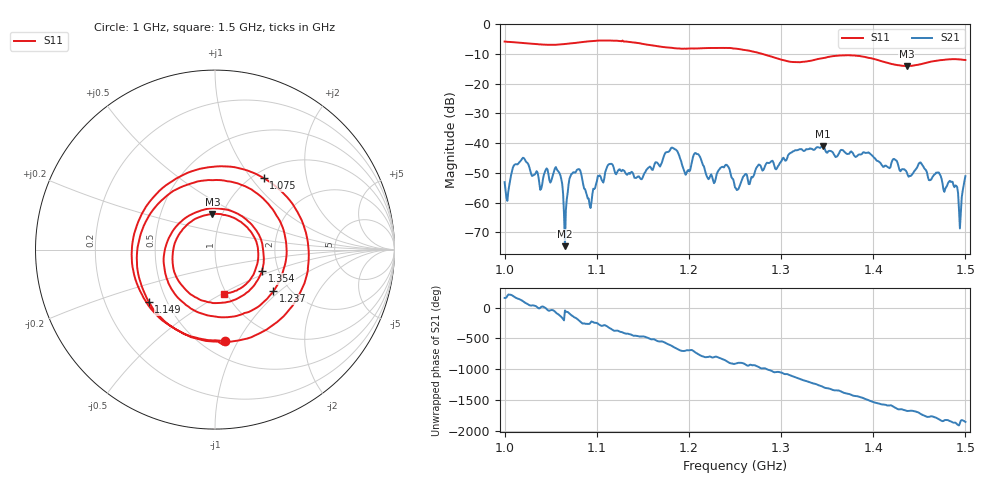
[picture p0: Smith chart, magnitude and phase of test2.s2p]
# HZ S RI R 50
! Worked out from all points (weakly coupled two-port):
!   505 points, 1 GHz to 1.5 GHz, reference 50 ohm
!   highest |S21| = -40.98 dB at 1.345 GHz (marker M1); lowest = -74.7 dB at 1.065 GHz (marker M2)
!   lowest |S11| = -14.0 dB at 1.437 GHz (marker M3), VSWR 1.50, Z = 45 + j18.5 ohm
!   |S11| at or under -10 dB: 1.28 GHz to end of sweep
!   S12 and S22 are empty: the file has one direction only
!   S11 on the Smith chart (normalised r, x): 1 GHz: 0.64, -0.88; 1.075 GHz: 1.11, +1.16; 1.149 GHz: 0.40, -0.30; 1.237 GHz: 1.65, -0.91; 1.354 GHz: 1.64, -0.42; 1.5 GHz: 0.97, -0.51
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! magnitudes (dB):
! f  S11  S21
! 1 GHz  -5.8  -53.2
! 1.02 GHz  -6.3  -44.9
! 1.04 GHz  -6.8  -55.4
! 1.057 GHz  -6.9  -48.8
! 1.065 GHz  -6.6  -74.7
! 1.075 GHz  -6.3  -49.9
! 1.083 GHz  -6.0  -50.7
! 1.092 GHz  -5.7  -60.8
! 1.114 GHz  -5.5  -47.0
! 1.149 GHz  -6.6  -52.1
! 1.167 GHz  -7.5  -47.0
! 1.183 GHz  -8.0  -41.6
! 1.237 GHz  -8.0  -48.0
! 1.25 GHz  -8.2  -54.9
! 1.333 GHz  -12.2  -41.9
! 1.345 GHz  -11.5  -41.0
! 1.354 GHz  -10.8  -42.7
! 1.417 GHz  -13.1  -48.2
! 1.437 GHz  -14.0  -49.9
! 1.47 GHz  -12.2  -49.9
! 1.494 GHz  -11.8  -68.7
! 1.5 GHz  -12.0  -51.1
